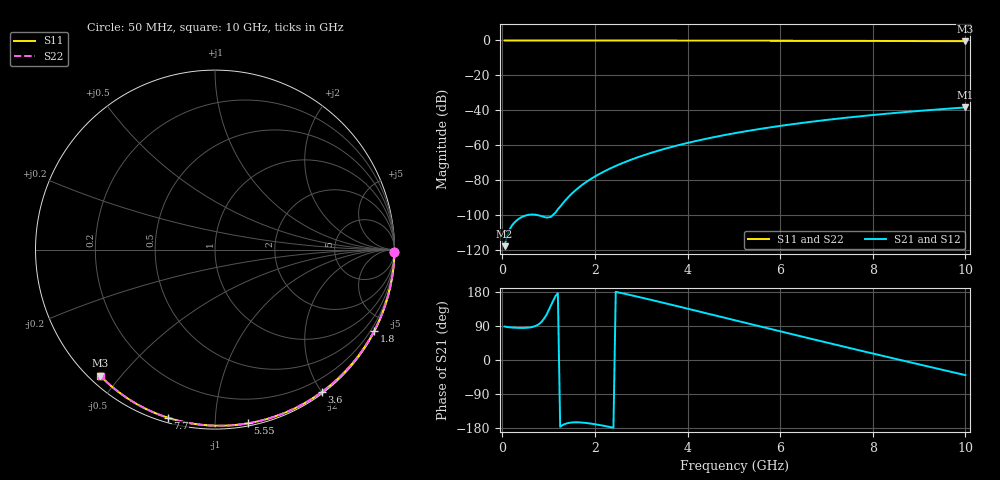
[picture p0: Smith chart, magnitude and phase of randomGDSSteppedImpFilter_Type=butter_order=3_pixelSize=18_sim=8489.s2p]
! freq	dB(S11)	phase(S11)	dB(S12)	phase(S12)
!  dB(S21)	phase(S21)	dB(S22)	phase(S22)
!S-par simulation data
#  GHz  S  DB  R 50
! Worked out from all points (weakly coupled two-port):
!   200 points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, 50 MHz to 10 GHz, reference 50 ohm
!   highest |S21| = -38.38 dB at 10 GHz (marker M1); lowest = -117.9 dB at 50 MHz (marker M2)
!   lowest |S11| = -0.4 dB at 10 GHz (marker M3), VSWR 39.00, Z = 1.53 - j22.1 ohm
!   |S11| at or under -10 dB: nowhere
!   |S22| runs from -0.4 to 0.0 dB; largest |S21 - S12| = 0
!   S11 on the Smith chart (normalised r, x): 50 MHz: open; 1.8 GHz: 0.04, -4.14; 3.6 GHz: 0.02, -2.00; 5.55 GHz: 0.02, -1.21; 7.7 GHz: 0.02, -0.76; 10 GHz: 0.03, -0.44
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0.05  -0.00 -0.8  -117.88 88.3  -117.88 88.3  -0.00 -0.8
0.9  -0.02 -13.7  -101.16 109.0  -101.16 109.0  -0.02 -13.7
1.75  -0.03 -26.4  -82.28 -165.4  -82.28 -165.4  -0.03 -26.3
1.8  -0.03 -27.1  -81.33 -166.0  -81.33 -166.0  -0.03 -27.0
1.85  -0.04 -27.9  -80.44 -166.7  -80.44 -166.7  -0.04 -27.8
1.9  -0.04 -28.6  -79.58 -167.6  -79.58 -167.6  -0.04 -28.5
2.05  -0.04 -30.8  -77.19 -170.5  -77.19 -170.5  -0.04 -30.7
2.25  -0.04 -33.8  -74.37 -175.0  -74.37 -175.0  -0.04 -33.6
2.45  -0.05 -36.7  -71.89 179.9  -71.89 179.9  -0.05 -36.5
2.65  -0.05 -39.6  -69.66 174.6  -69.66 174.6  -0.05 -39.4
3  -0.06 -44.6  -66.25 164.8  -66.25 164.8  -0.06 -44.4
3.4  -0.07 -50.3  -62.91 153.3  -62.91 153.3  -0.07 -50.1
3.6  -0.07 -53.1  -61.42 147.4  -61.42 147.4  -0.07 -52.9
4.3  -0.09 -62.7  -56.91 126.5  -56.91 126.5  -0.09 -62.5
5.05  -0.11 -72.7  -52.99 104.1  -52.99 104.1  -0.11 -72.5
5.55  -0.13 -79.2  -50.76 89.1  -50.76 89.1  -0.13 -79.0
6.1  -0.15 -86.2  -48.59 72.8  -48.59 72.8  -0.15 -86.0
6.7  -0.18 -93.7  -46.49 55.0  -46.49 55.0  -0.18 -93.4
7.7  -0.24 -105.8  -43.51 25.8  -43.51 25.8  -0.24 -105.5
8.35  -0.29 -113.4  -41.85 7.0  -41.85 7.0  -0.29 -113.1
9.15  -0.36 -122.6  -40.05 -15.8  -40.05 -15.8  -0.36 -122.3
10  -0.45 -132.3  -38.38 -39.9  -38.38 -39.9  -0.45 -132.0
